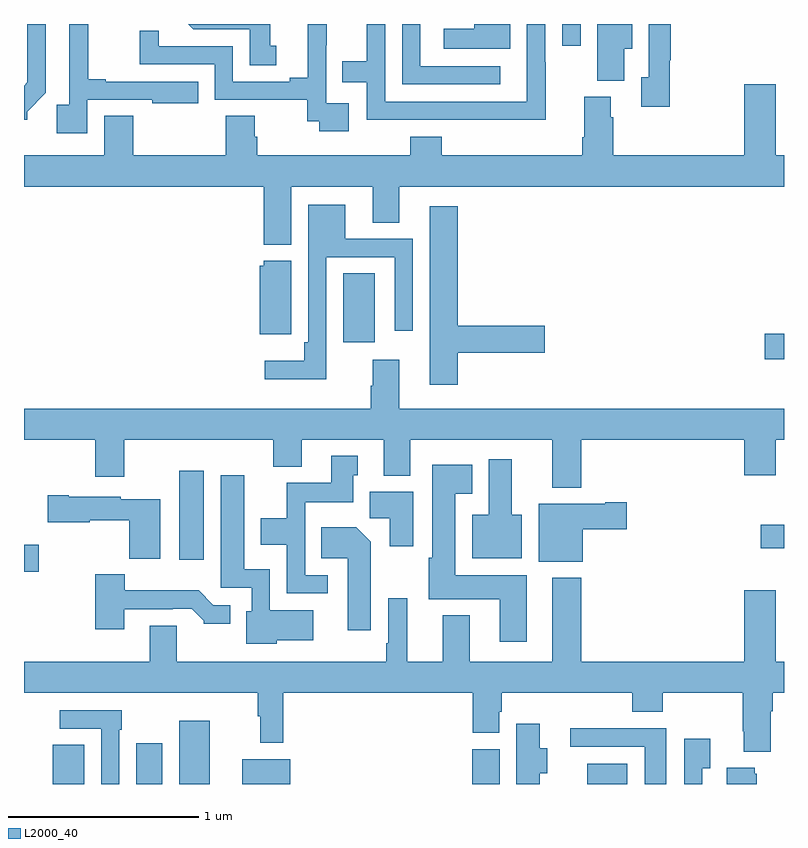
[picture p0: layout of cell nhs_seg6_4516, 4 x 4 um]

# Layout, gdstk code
import gdstk
lib = gdstk.Library(unit=1e-6, precision=1e-09)
def R(c, l, rs):  # rectangles x0, y0, x1, y1
    for r in rs: c.add(gdstk.rectangle(r[:2], r[2:], *l))
def P(c, l, *ps):  # polygons
    for p in ps: c.add(gdstk.Polygon(p, *l))
L2000_40 = (2000, 40)

nhs_seg6_4516 = lib.new_cell('nhs_seg6_4516')
R(nhs_seg6_4516, L2000_40, [(377.15,969.5,377.317,969.707), (377.591,969.5,377.728,969.715), (377.816,969.5,377.977,969.832), (378.149,969.5,378.4,969.631), (379.358,969.5,379.504,969.684), (379.964,969.5,380.176,969.607), (377,970.618,377.077,970.76), (377.816,970.68,377.947,971.149), (380.877,970.742,381,970.864), (380.898,971.735,381,971.87), (378.68,971.826,378.847,972.188), (379.833,973.386,379.929,973.5)])
P(nhs_seg6_4516, L2000_40, [(379.507,973.278),(379.086,973.278),(379.086,973.5),(378.99,973.5),(378.99,973.182),(379.507,973.182)],
  [(378.709,973.083),(378.591,973.083),(378.591,973.387),(378.593,973.387),(378.593,973.5),(378.494,973.5),(378.494,973.217),(378.398,973.217),(378.398,973.197),(378.099,973.197),(378.099,973.383),(377.709,973.383),(377.709,973.465),(377.608,973.465),(377.608,973.287),(378.003,973.287),(378.003,973.101),(378.49,973.101),(378.49,972.987),(378.553,972.987),(378.553,972.936),(378.709,972.936)],
  [(378.328,973.386),(378.295,973.386),(378.295,973.5),(377.865,973.5),(377.892,973.473),(378.188,973.473),(378.188,973.282),(378.328,973.282)],
  [(377.334,973.101),(377.675,973.101),(377.675,973.082),(377.918,973.082),(377.918,973.197),(377.431,973.197),(377.431,973.21),(377.339,973.21),(377.339,973.5),(377.238,973.5),(377.238,973.075),(377.173,973.075),(377.173,972.924),(377.334,972.924)],
  [(379.558,973.5),(379.371,973.5),(379.371,973.474),(379.209,973.474),(379.209,973.37),(379.558,973.37)],
  [(380.158,973.37),(380.2,973.37),(380.2,973.5),(380.018,973.5),(380.018,973.201),(380.158,973.201)],
  [(377.016,973.039),(377.115,973.138),(377.115,973.5),(377.018,973.5),(377.018,973.193),(377,973.175),(377,972.995),(377.016,972.995)],
  [(379.745,973.298),(379.743,973.298),(379.743,973.5),(379.647,973.5),(379.647,973.092),(378.9,973.092),(378.9,973.5),(378.803,973.5),(378.803,973.303),(378.676,973.303),(378.676,973.194),(378.804,973.194),(378.804,972.996),(379.282,972.996),(379.282,972.995),(379.745,972.995)],
  [(380.398,973.309),(380.405,973.309),(380.405,973.5),(380.289,973.5),(380.289,973.221),(380.249,973.221),(380.249,973.065),(380.398,973.065)],
  [(378.406,972.644),(378.836,972.644),(378.836,972.454),(378.976,972.454),(378.976,972.644),(381,972.644),(381,972.808),(380.956,972.808),(380.956,973.183),(380.792,973.183),(380.792,972.808),(380.102,972.808),(380.102,973.01),(380.089,973.01),(380.089,973.116),(379.949,973.116),(379.949,972.904),(379.937,972.904),(379.937,972.808),(379.199,972.808),(379.199,972.907),(379.034,972.907),(379.034,972.808),(378.227,972.808),(378.227,972.906),(378.214,972.906),(378.214,973.016),(378.062,973.016),(378.062,972.808),(377.576,972.808),(377.576,973.016),(377.423,973.016),(377.423,972.808),(377,972.808),(377,972.644),(378.263,972.644),(378.263,972.338),(378.406,972.338)],
  [(378.591,972.273),(378.951,972.273),(378.951,971.886),(379.047,971.886),(379.047,972.369),(378.691,972.369),(378.691,972.55),(378.495,972.55),(378.495,971.824),(378.475,971.824),(378.475,971.728),(378.267,971.728),(378.267,971.63),(378.591,971.63)],
  [(379.283,971.77),(379.741,971.77),(379.741,971.912),(379.283,971.912),(379.283,972.541),(379.136,972.541),(379.136,971.601),(379.283,971.601)],
  [(378.406,972.253),(378.261,972.253),(378.261,972.228),(378.242,972.228),(378.242,971.867),(378.406,971.867)],
  [(378.836,971.597),(378.824,971.597),(378.824,971.476),(377,971.476),(377,971.312),(377.375,971.312),(377.375,971.118),(377.527,971.118),(377.527,971.312),(378.311,971.312),(378.311,971.171),(378.463,971.171),(378.463,971.312),(378.893,971.312),(378.893,971.123),(379.033,971.123),(379.033,971.312),(379.781,971.312),(379.781,971.06),(379.934,971.06),(379.934,971.312),(380.792,971.312),(380.792,971.124),(380.956,971.124),(380.956,971.312),(381,971.312),(381,971.476),(378.976,971.476),(378.976,971.734),(378.836,971.734)],
  [(378.598,970.599),(378.48,970.599),(378.48,970.982),(378.733,970.982),(378.733,971.124),(378.757,971.124),(378.757,971.227),(378.617,971.227),(378.617,971.086),(378.382,971.086),(378.382,970.9),(378.245,970.9),(378.245,970.76),(378.384,970.76),(378.384,970.503),(378.598,970.503)],
  [(379.621,970.918),(379.567,970.918),(379.567,971.209),(379.445,971.209),(379.445,970.918),(379.358,970.918),(379.358,970.688),(379.621,970.688)],
  [(379.645,970.6),(379.27,970.6),(379.27,971.027),(379.36,971.027),(379.36,971.179),(379.148,971.179),(379.148,970.69),(379.13,970.69),(379.13,970.472),(379.505,970.472),(379.505,970.248),(379.645,970.248)],
  [(378.33,970.256),(378.523,970.256),(378.523,970.414),(378.294,970.414),(378.294,970.63),(378.16,970.63),(378.16,971.125),(378.035,971.125),(378.035,970.533),(378.198,970.533),(378.198,970.41),(378.17,970.41),(378.17,970.238),(378.33,970.238)],
  [(379.048,971.038),(378.821,971.038),(378.821,970.9),(378.926,970.9),(378.926,970.752),(379.048,970.752)],
  [(377.716,970.999),(377.508,970.999),(377.508,971.011),(377.236,971.011),(377.236,971.019),(377.124,971.019),(377.124,970.877),(377.346,970.877),(377.346,970.889),(377.554,970.889),(377.554,970.685),(377.716,970.685)],
  [(379.942,970.841),(380.173,970.841),(380.173,970.983),(380.06,970.983),(380.06,970.975),(379.709,970.975),(379.709,970.67),(379.942,970.67)],
  [(378.826,970.774),(378.748,970.852),(378.565,970.852),(378.565,970.688),(378.704,970.688),(378.704,970.308),(378.826,970.308)],
  [(377.527,970.419),(377.783,970.419),(377.783,970.422),(377.882,970.422),(377.946,970.358),(377.946,970.343),(378.085,970.343),(378.085,970.44),(377.997,970.44),(377.919,970.519),(377.53,970.519),(377.53,970.603),(377.375,970.603),(377.375,970.314),(377.527,970.314)],
  [(380.929,969.884),(380.942,969.884),(380.942,969.98),(381,969.98),(381,970.144),(380.956,970.144),(380.956,970.519),(380.792,970.519),(380.792,970.144),(379.934,970.144),(379.934,970.585),(379.781,970.585),(379.781,970.144),(379.345,970.144),(379.345,970.387),(379.205,970.387),(379.205,970.144),(379.016,970.144),(379.016,970.477),(378.918,970.477),(378.918,970.24),(378.906,970.24),(378.906,970.144),(377.803,970.144),(377.803,970.334),(377.663,970.334),(377.663,970.144),(377,970.144),(377,969.98),(378.229,969.98),(378.229,969.857),(378.244,969.857),(378.244,969.717),(378.365,969.717),(378.365,969.98),(379.361,969.98),(379.361,969.769),(379.501,969.769),(379.501,969.879),(379.514,969.879),(379.514,969.98),(380.201,969.98),(380.201,969.881),(380.361,969.881),(380.361,969.98),(380.782,969.98),(380.782,969.778),(380.789,969.778),(380.789,969.671),(380.929,969.671)],
  [(377.502,969.785),(377.515,969.785),(377.515,969.888),(377.187,969.888),(377.187,969.792),(377.406,969.792),(377.406,969.5),(377.502,969.5)],
  [(379.714,969.557),(379.753,969.557),(379.753,969.687),(379.714,969.687),(379.714,969.817),(379.592,969.817),(379.592,969.5),(379.714,969.5)],
  [(380.38,969.794),(379.875,969.794),(379.875,969.696),(380.267,969.696),(380.267,969.5),(380.38,969.5)],
  [(380.571,969.583),(380.611,969.583),(380.611,969.739),(380.475,969.739),(380.475,969.5),(380.571,969.5)],
  [(380.857,969.555),(380.846,969.555),(380.846,969.586),(380.699,969.586),(380.699,969.5),(380.857,969.5)])

lib.write_gds('nhs_seg6_4516.gds')
